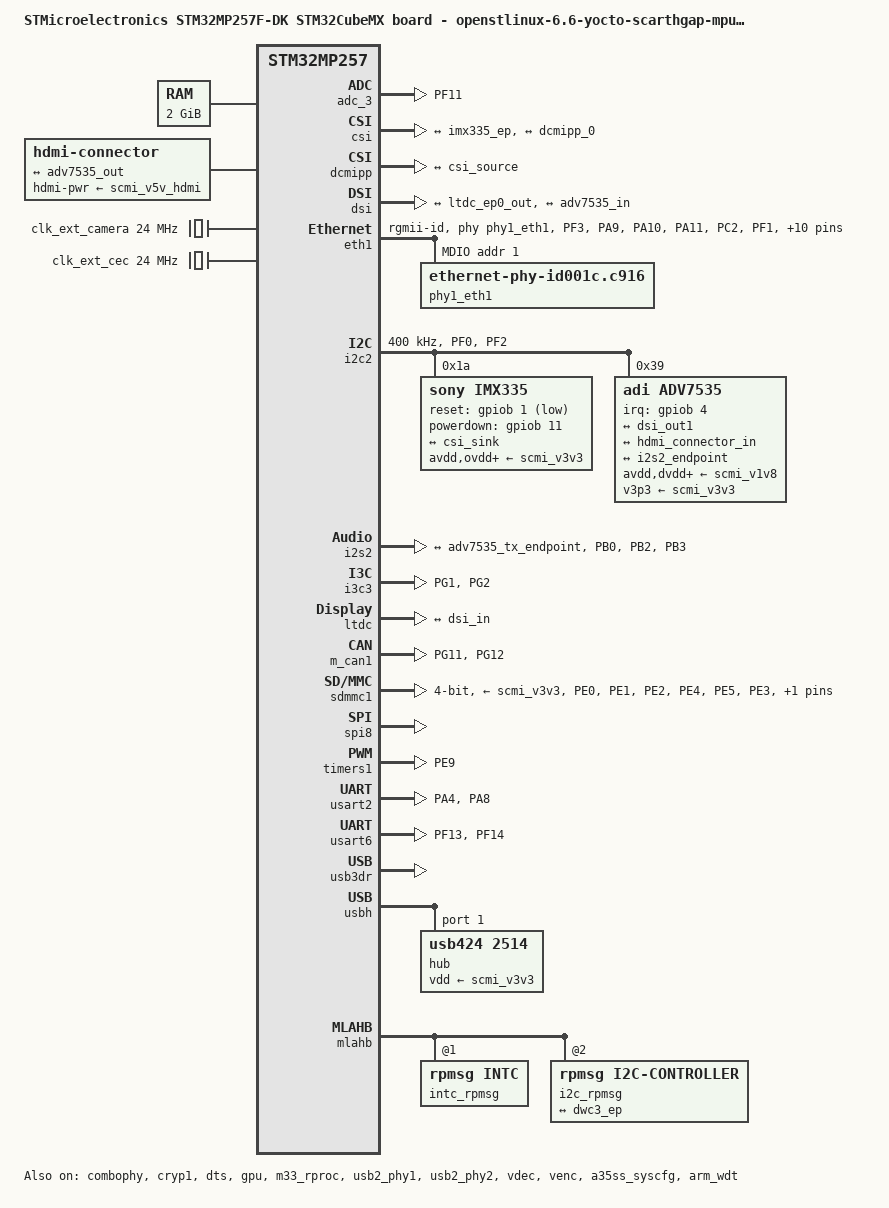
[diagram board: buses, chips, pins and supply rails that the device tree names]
// SPDX-License-Identifier: (GPL-2.0-only OR BSD-3-Clause)
/*
 * Copyright (C) 2026, STMicroelectronics - All Rights Reserved
 * Author: STM32CubeMX code generation for STMicroelectronics.
 */

/* For more information on Device Tree configuration, please refer to
 * https://wiki.st.com/stm32mpu/wiki/Category:Device_tree_configuration
 */

/dts-v1/;

#include <dt-bindings/pinctrl/stm32-pinfunc.h>
#include "stm32mp257.dtsi"
#include "stm32mp25xf.dtsi"
#include "stm32mp257f-watermelon-wine-1b-mx-resmem.dtsi"
#include "stm32mp25xxak-pinctrl.dtsi"

/* USER CODE BEGIN includes */
#include <dt-bindings/gpio/gpio.h>
#include <dt-bindings/input/input.h>
#include <dt-bindings/leds/common.h>
#include <dt-bindings/rtc/rtc-stm32.h>
#include "stm32mp25-pinctrl.dtsi"
/* USER CODE END includes */

/ {
	model = "STMicroelectronics STM32MP257F-DK STM32CubeMX board - openstlinux-6.6-yocto-scarthgap-mpu-v26.02.18";
	compatible = "st,stm32mp257f-watermelon-wine-1b-mx", "st,stm32mp257f-dk", "st,stm32mp257";

	memory@80000000 {
		device_type = "memory";
		reg = <0x0 0x80000000 0x0 0x80000000>;

		/* USER CODE BEGIN memory */
		/* USER CODE END memory */
	};

	/* USER CODE BEGIN root */

	aliases{
		serial0 = &usart6;
	};

	chosen{
		stdout-path = "serial0:115200n8";
		#address-cells = <2>;
		#size-cells = <2>;
		ranges;
	};

	hdmi:connector{
		compatible = "hdmi-connector";
		label = "hdmi";
		type = "d";
		hdmi-pwr-supply = <&scmi_v5v_hdmi>;

		port{

			hdmi_connector_in:endpoint{
				remote-endpoint = <&adv7535_out>;
			};
		};
	};

	sound {
		compatible = "audio-graph-card";
		label = "STM32MP25-DK";
		dais = <&i2s2_port>;
		status = "okay";
	};

	/* USER CODE END root */

	clocks{

		/* USER CODE BEGIN clocks */

		clk_ext_camera:clk-ext-camera{
			#clock-cells = <0>;
			compatible = "fixed-clock";
			clock-frequency = <24000000>;
		};

		clk_ext_cec:clk-ext-cec{
			#clock-cells = <0>;
			compatible = "fixed-clock";
			clock-frequency = <24000000>;
		};
		/* USER CODE END clocks */
	};

}; /*root*/

&pinctrl {

	adc3_pins_mx: adc3_mx-0 {
		pins {
			pinmux = <STM32_PINMUX('F', 11, ANALOG)>; /* ADC3_INP6 */
		};
	};

	adc3_sleep_pins_mx: adc3_sleep_mx-0 {
		pins {
			pinmux = <STM32_PINMUX('F', 11, ANALOG)>; /* ADC3_INP6 */
		};
	};

	eth1_clk_pins_mx: eth1_clk_mx-0 {
		pins {
			pinmux = <STM32_PINMUX('F', 3, AF9)>; /* ETH1_CLK */
			bias-disable;
			drive-push-pull;
			slew-rate = <1>;
		};
	};

	eth1_clk_sleep_pins_mx: eth1_clk_sleep_mx-0 {
		pins {
			pinmux = <STM32_PINMUX('F', 3, ANALOG)>; /* ETH1_CLK */
		};
	};

	eth1_mdio_pins_mx: eth1_mdio_mx-0 {
		pins {
			pinmux = <STM32_PINMUX('A', 9, AF10)>, /* ETH1_MDC */
					 <STM32_PINMUX('A', 10, AF10)>; /* ETH1_MDIO */
			bias-disable;
			drive-push-pull;
			slew-rate = <1>;
			st,io-clk-edge = <0>;
			st,io-retime = <0>;
			st,io-delay-path = <0>;
			st,io-delay = <0>;
		};
	};

	eth1_mdio_sleep_pins_mx: eth1_mdio_sleep_mx-0 {
		pins {
			pinmux = <STM32_PINMUX('A', 9, ANALOG)>, /* ETH1_MDC */
					 <STM32_PINMUX('A', 10, ANALOG)>; /* ETH1_MDIO */
		};
	};

	eth1_rgmii_pins_mx: eth1_rgmii_mx-0 {
		pins1 {
			pinmux = <STM32_PINMUX('A', 11, AF10)>, /* ETH1_RGMII_RX_CTL */
					 <STM32_PINMUX('C', 2, AF10)>, /* ETH1_RGMII_RXD1 */
					 <STM32_PINMUX('F', 1, AF10)>, /* ETH1_RGMII_RXD0 */
					 <STM32_PINMUX('H', 12, AF10)>, /* ETH1_RGMII_RXD2 */
					 <STM32_PINMUX('H', 13, AF10)>; /* ETH1_RGMII_RXD3 */
			bias-disable;
			drive-push-pull;
			st,io-clk-edge = <1>;
			st,io-retime = <1>;
			st,io-delay-path = <0>;
			st,io-delay = <0>;
		};
		pins2 {
			pinmux = <STM32_PINMUX('A', 13, AF10)>, /* ETH1_RGMII_TX_CTL */
					 <STM32_PINMUX('A', 15, AF10)>, /* ETH1_RGMII_TXD0 */
					 <STM32_PINMUX('C', 1, AF10)>, /* ETH1_RGMII_TXD1 */
					 <STM32_PINMUX('H', 10, AF10)>, /* ETH1_RGMII_TXD2 */
					 <STM32_PINMUX('H', 11, AF10)>; /* ETH1_RGMII_TXD3 */
			bias-disable;
			drive-push-pull;
			slew-rate = <3>;
			st,io-clk-edge = <1>;
			st,io-retime = <1>;
			st,io-delay-path = <0>;
			st,io-delay = <0>;
		};
		pins3 {
			pinmux = <STM32_PINMUX('A', 14, AF10)>; /* ETH1_RGMII_RX_CLK */
			bias-disable;
			drive-push-pull;
			st,io-clk-edge = <0>;
			st,io-retime = <0>;
			st,io-delay-path = <1>;
			st,io-delay = <0>;
		};
		pins4 {
			pinmux = <STM32_PINMUX('C', 0, AF12)>; /* ETH1_RGMII_GTX_CLK */
			bias-disable;
			drive-push-pull;
			st,io-clk-edge = <0>;
			st,io-retime = <0>;
			st,io-delay-path = <0>;
			st,io-delay = <0>;
		};
		pins5 {
			pinmux = <STM32_PINMUX('H', 9, AF10)>; /* ETH1_RGMII_CLK125 */
			bias-disable;
			drive-push-pull;
			slew-rate = <3>;
		};
	};

	eth1_rgmii_sleep_pins_mx: eth1_rgmii_sleep_mx-0 {
		pins {
			pinmux = <STM32_PINMUX('A', 11, ANALOG)>, /* ETH1_RGMII_RX_CTL */
					 <STM32_PINMUX('A', 13, ANALOG)>, /* ETH1_RGMII_TX_CTL */
					 <STM32_PINMUX('A', 14, ANALOG)>, /* ETH1_RGMII_RX_CLK */
					 <STM32_PINMUX('A', 15, ANALOG)>, /* ETH1_RGMII_TXD0 */
					 <STM32_PINMUX('C', 0, ANALOG)>, /* ETH1_RGMII_GTX_CLK */
					 <STM32_PINMUX('C', 1, ANALOG)>, /* ETH1_RGMII_TXD1 */
					 <STM32_PINMUX('C', 2, ANALOG)>, /* ETH1_RGMII_RXD1 */
					 <STM32_PINMUX('F', 1, ANALOG)>, /* ETH1_RGMII_RXD0 */
					 <STM32_PINMUX('H', 9, ANALOG)>, /* ETH1_RGMII_CLK125 */
					 <STM32_PINMUX('H', 10, ANALOG)>, /* ETH1_RGMII_TXD2 */
					 <STM32_PINMUX('H', 11, ANALOG)>, /* ETH1_RGMII_TXD3 */
					 <STM32_PINMUX('H', 12, ANALOG)>, /* ETH1_RGMII_RXD2 */
					 <STM32_PINMUX('H', 13, ANALOG)>; /* ETH1_RGMII_RXD3 */
		};
	};

	fdcan1_pins_mx: fdcan1_mx-0 {
		pins1 {
			pinmux = <STM32_PINMUX('G', 11, AF7)>; /* FDCAN1_TX */
			bias-disable;
			drive-push-pull;
			slew-rate = <0>;
		};
		pins2 {
			pinmux = <STM32_PINMUX('G', 12, AF7)>; /* FDCAN1_RX */
			bias-disable;
			drive-push-pull;
		};
	};

	fdcan1_sleep_pins_mx: fdcan1_sleep_mx-0 {
		pins {
			pinmux = <STM32_PINMUX('G', 11, ANALOG)>, /* FDCAN1_TX */
					 <STM32_PINMUX('G', 12, ANALOG)>; /* FDCAN1_RX */
		};
	};

	i2c2_pins_mx: i2c2_mx-0 {
		pins {
			pinmux = <STM32_PINMUX('F', 0, AF9)>, /* I2C2_SDA */
					 <STM32_PINMUX('F', 2, AF9)>; /* I2C2_SCL */
			bias-disable;
			drive-open-drain;
			slew-rate = <0>;
		};
	};

	i2c2_sleep_pins_mx: i2c2_sleep_mx-0 {
		pins {
			pinmux = <STM32_PINMUX('F', 0, ANALOG)>, /* I2C2_SDA */
					 <STM32_PINMUX('F', 2, ANALOG)>; /* I2C2_SCL */
		};
	};

	i2s2_pins_mx: i2s2_mx-0 {
		pins {
			pinmux = <STM32_PINMUX('B', 0, AF2)>, /* I2S2_CK */
					 <STM32_PINMUX('B', 2, AF2)>, /* I2S2_SDO */
					 <STM32_PINMUX('B', 3, AF2)>; /* I2S2_WS */
			bias-disable;
			drive-push-pull;
			slew-rate = <0>;
		};
	};

	i2s2_sleep_pins_mx: i2s2_sleep_mx-0 {
		pins {
			pinmux = <STM32_PINMUX('B', 0, ANALOG)>, /* I2S2_CK */
					 <STM32_PINMUX('B', 2, ANALOG)>, /* I2S2_SDO */
					 <STM32_PINMUX('B', 3, ANALOG)>; /* I2S2_WS */
		};
	};

	i3c3_pins_mx: i3c3_mx-0 {
		pins {
			pinmux = <STM32_PINMUX('G', 1, AF3)>, /* I3C3_SCL */
					 <STM32_PINMUX('G', 2, AF3)>; /* I3C3_SDA */
			bias-pull-up;
			drive-push-pull;
			slew-rate = <3>;
		};
	};

	i3c3_sleep_pins_mx: i3c3_sleep_mx-0 {
		pins {
			pinmux = <STM32_PINMUX('G', 1, ANALOG)>, /* I3C3_SCL */
					 <STM32_PINMUX('G', 2, ANALOG)>; /* I3C3_SDA */
		};
	};

	sdmmc1_pins_mx: sdmmc1_mx-0 {
		pins1 {
			pinmux = <STM32_PINMUX('E', 0, AF10)>, /* SDMMC1_D2 */
					 <STM32_PINMUX('E', 1, AF10)>, /* SDMMC1_D3 */
					 <STM32_PINMUX('E', 2, AF10)>, /* SDMMC1_CMD */
					 <STM32_PINMUX('E', 4, AF10)>, /* SDMMC1_D0 */
					 <STM32_PINMUX('E', 5, AF10)>; /* SDMMC1_D1 */
			bias-disable;
			drive-push-pull;
			slew-rate = <1>;
		};
		pins2 {
			pinmux = <STM32_PINMUX('E', 3, AF10)>; /* SDMMC1_CK */
			bias-disable;
			drive-push-pull;
			slew-rate = <2>;
		};
	};

	sdmmc1_opendrain_pins_mx: sdmmc1_opendrain_mx-0 {
		pins1 {
			pinmux = <STM32_PINMUX('E', 0, AF10)>, /* SDMMC1_D2 */
					 <STM32_PINMUX('E', 1, AF10)>, /* SDMMC1_D3 */
					 <STM32_PINMUX('E', 4, AF10)>, /* SDMMC1_D0 */
					 <STM32_PINMUX('E', 5, AF10)>; /* SDMMC1_D1 */
			bias-disable;
			drive-push-pull;
			slew-rate = <1>;
		};
		pins2 {
			pinmux = <STM32_PINMUX('E', 2, AF10)>; /* SDMMC1_CMD */
			bias-disable;
			drive-open-drain;
			slew-rate = <1>;
		};
		pins3 {
			pinmux = <STM32_PINMUX('E', 3, AF10)>; /* SDMMC1_CK */
			bias-disable;
			drive-push-pull;
			slew-rate = <2>;
		};
	};

	sdmmc1_sleep_pins_mx: sdmmc1_sleep_mx-0 {
		pins {
			pinmux = <STM32_PINMUX('E', 0, ANALOG)>, /* SDMMC1_D2 */
					 <STM32_PINMUX('E', 1, ANALOG)>, /* SDMMC1_D3 */
					 <STM32_PINMUX('E', 2, ANALOG)>, /* SDMMC1_CMD */
					 <STM32_PINMUX('E', 3, ANALOG)>, /* SDMMC1_CK */
					 <STM32_PINMUX('E', 4, ANALOG)>, /* SDMMC1_D0 */
					 <STM32_PINMUX('E', 5, ANALOG)>; /* SDMMC1_D1 */
		};
	};

	tim1_pwm_pins_mx: tim1_pwm_mx-0 {
		pins {
			pinmux = <STM32_PINMUX('E', 9, AF8)>; /* TIM1_CH4 */
			bias-disable;
			drive-push-pull;
			slew-rate = <0>;
		};
	};

	tim1_pwm_sleep_pins_mx: tim1_pwm_sleep_mx-0 {
		pins {
			pinmux = <STM32_PINMUX('E', 9, ANALOG)>; /* TIM1_CH4 */
		};
	};

	usart2_pins_mx: usart2_mx-0 {
		pins1 {
			pinmux = <STM32_PINMUX('A', 4, AF6)>; /* USART2_TX */
			bias-disable;
			drive-push-pull;
			slew-rate = <0>;
		};
		pins2 {
			pinmux = <STM32_PINMUX('A', 8, AF8)>; /* USART2_RX */
			bias-disable;
			drive-push-pull;
		};
	};

	usart2_idle_pins_mx: usart2_idle_mx-0 {
		pins1 {
			pinmux = <STM32_PINMUX('A', 4, ANALOG)>; /* USART2_TX */
		};
		pins2 {
			pinmux = <STM32_PINMUX('A', 8, AF8)>; /* USART2_RX */
			bias-disable;
			drive-push-pull;
		};
	};

	usart2_sleep_pins_mx: usart2_sleep_mx-0 {
		pins {
			pinmux = <STM32_PINMUX('A', 4, ANALOG)>, /* USART2_TX */
					 <STM32_PINMUX('A', 8, ANALOG)>; /* USART2_RX */
		};
	};

	usart6_pins_mx: usart6_mx-0 {
		pins1 {
			pinmux = <STM32_PINMUX('F', 13, AF3)>; /* USART6_TX */
			bias-disable;
			drive-push-pull;
			slew-rate = <0>;
		};
		pins2 {
			pinmux = <STM32_PINMUX('F', 14, AF3)>; /* USART6_RX */
			bias-disable;
			drive-push-pull;
		};
	};

	usart6_idle_pins_mx: usart6_idle_mx-0 {
		pins1 {
			pinmux = <STM32_PINMUX('F', 13, ANALOG)>; /* USART6_TX */
		};
		pins2 {
			pinmux = <STM32_PINMUX('F', 14, AF3)>; /* USART6_RX */
			bias-disable;
			drive-push-pull;
		};
	};

	usart6_sleep_pins_mx: usart6_sleep_mx-0 {
		pins {
			pinmux = <STM32_PINMUX('F', 13, ANALOG)>, /* USART6_TX */
					 <STM32_PINMUX('F', 14, ANALOG)>; /* USART6_RX */
		};
	};

	/* USER CODE BEGIN pinctrl */
	/* USER CODE END pinctrl */
};

&pinctrl_z {

	spi8_pins_z_mx: spi8_mx-0 {
		pins {
			pinmux = <STM32_PINMUX('Z', 2, AF3)>, /* SPI8_SCK */
					 <STM32_PINMUX('Z', 7, AF3)>, /* SPI8_MOSI */
					 <STM32_PINMUX('Z', 8, AF3)>; /* SPI8_MISO */
			bias-disable;
			drive-push-pull;
			slew-rate = <0>;
		};
	};

	spi8_sleep_pins_z_mx: spi8_sleep_mx-0 {
		pins {
			pinmux = <STM32_PINMUX('Z', 2, ANALOG)>, /* SPI8_SCK */
					 <STM32_PINMUX('Z', 7, ANALOG)>, /* SPI8_MOSI */
					 <STM32_PINMUX('Z', 8, ANALOG)>; /* SPI8_MISO */
		};
	};

	/* USER CODE BEGIN pinctrl_z */
	/* USER CODE END pinctrl_z */
};

&adc_3 {
	pinctrl-names = "default", "sleep";
	pinctrl-0 = <&adc3_pins_mx>;
	pinctrl-1 = <&adc3_sleep_pins_mx>;
	status = "okay";

	/* USER CODE BEGIN adc_3 */
	/* USER CODE END adc_3 */
};

&combophy {
	status = "okay";

	/* USER CODE BEGIN combophy */
	st,ssc-on;
	/* USER CODE END combophy */
};

&cryp1 {
	status = "okay";

	/* USER CODE BEGIN cryp1 */
	/* USER CODE END cryp1 */
};

&csi {
	status = "okay";

	/* USER CODE BEGIN csi */
	vdd-supply = <&scmi_vddcore>;
	vdda18-supply = <&scmi_v1v8>;

	ports{
		#address-cells = <1>;
		#size-cells = <0>;

		port@0{
			reg = <0>;

			csi_sink:endpoint{
				remote-endpoint = <&imx335_ep>;
				data-lanes = <1 2>;
				bus-type = <4>;
			};
		};

		port@1{
			reg = <1>;

			csi_source:endpoint{
				remote-endpoint = <&dcmipp_0>;
			};
		};
	};
	/* USER CODE END csi */
};

&dcmipp {
	status = "okay";

	/* USER CODE BEGIN dcmipp */

	port{

		dcmipp_0:endpoint{
			remote-endpoint = <&csi_source>;
			bus-type = <4>;
		};
	};
	/* USER CODE END dcmipp */
};

&dsi {
	status = "okay";

	/* USER CODE BEGIN dsi */
	vdd-supply = <&scmi_vddcore>;
	vdda18-supply = <&scmi_v1v8>;

	ports{
		#address-cells = <1>;
		#size-cells = <0>;

		port@0{
			reg = <0>;

			dsi_in:endpoint{
				remote-endpoint = <&ltdc_ep0_out>;
			};
		};

		port@1{
			reg = <1>;

			dsi_out1:endpoint{
				remote-endpoint = <&adv7535_in>;
			};
		};
	};
	/* USER CODE END dsi */
};

&dts {
	status = "okay";

	/* USER CODE BEGIN dts */
	/* USER CODE END dts */
};

&eth1 {
	pinctrl-names = "default", "sleep";
	pinctrl-0 = <&eth1_clk_pins_mx>, <&eth1_mdio_pins_mx>, <&eth1_rgmii_pins_mx>;
	pinctrl-1 = <&eth1_clk_sleep_pins_mx>, <&eth1_mdio_sleep_pins_mx>, <&eth1_rgmii_sleep_pins_mx>;
	status = "okay";

	/* USER CODE BEGIN eth1 */
	phy-mode = "rgmii-id";
	max-speed = <1000>;
	phy-handle = <&phy1_eth1>;
	st,eth-ptp-from-rcc;

	mdio1{
		#address-cells = <1>;
		#size-cells = <0>;
		compatible = "snps,dwmac-mdio";

		phy1_eth1:ethernet-phy@1{
			compatible = "ethernet-phy-id001c.c916";
			/* No Reset pins */
			realtek,eee-disable;
			reg = <1>;
		};
	};
	/* USER CODE END eth1 */
};

&gpu {
	status = "okay";

	/* USER CODE BEGIN gpu */
	contiguous-area = <&gpu_reserved>;
	/* USER CODE END gpu */
};

&hpdma {
	status = "okay";

	/* USER CODE BEGIN hpdma */
	memory-region = <&hpdma1_lli>;
	/* USER CODE END hpdma */
};

&hpdma2 {
	status = "okay";

	/* USER CODE BEGIN hpdma2 */
	memory-region = <&hpdma2_lli>;
	/* USER CODE END hpdma2 */
};

&hpdma3 {
	status = "okay";

	/* USER CODE BEGIN hpdma3 */
	memory-region = <&hpdma3_lli>;
	/* USER CODE END hpdma3 */
};

&i2c2 {
	pinctrl-names = "default", "sleep";
	pinctrl-0 = <&i2c2_pins_mx>;
	pinctrl-1 = <&i2c2_sleep_pins_mx>;
	status = "okay";

	/* USER CODE BEGIN i2c2 */
	i2c-scl-rising-time-ns = <108>;
	i2c-scl-falling-time-ns = <12>;
	clock-frequency = <400000>;
	/delete-property/ dmas;
	/delete-property/ dma-names;

	imx335:camera@1a{
		compatible = "sony,imx335";
		reg = <0x1a>;
		clocks = <&clk_ext_camera>;
		avdd-supply = <&scmi_v3v3>;
		ovdd-supply = <&scmi_v3v3>;
		dvdd-supply = <&scmi_v3v3>;
		reset-gpios = <&gpiob 1 (GPIO_ACTIVE_LOW | GPIO_PUSH_PULL)>;
		powerdown-gpios = <&gpiob 11 (GPIO_ACTIVE_HIGH | GPIO_PUSH_PULL)>;
		status = "okay";

		port{

			imx335_ep:endpoint{
				remote-endpoint = <&csi_sink>;
				clock-lanes = <0>;
				data-lanes = <1 2>;
				link-frequencies = /bits/ 64 <594000000>;
			};
		};
	};

	adv7535:hdmi@39{
		compatible = "adi,adv7535";
		reg = <0x39>, <0x3c>, <0x3f>, <0x38>;
		reg-names = "main", "cec", "edid", "packet";
		status = "okay";
		adi,dsi-lanes = <4>;
		clocks = <&clk_ext_cec>;
		clock-names = "cec";
		interrupt-parent = <&gpiob>;
		interrupts = <4 IRQ_TYPE_EDGE_FALLING>;
		/*reset-gpios = <&gpiob 6 GPIO_ACTIVE_LOW>; EJ IMPLEMENTERAT */
		avdd-supply = <&scmi_v1v8>;
		dvdd-supply = <&scmi_v1v8>;
		pvdd-supply = <&scmi_v1v8>;
		a2vdd-supply = <&scmi_v1v8>;
		v3p3-supply = <&scmi_v3v3>;
		v1p2-supply = <&scmi_v1v8>;

		ports{
			#address-cells = <1>;
			#size-cells = <0>;

			port@0{
				reg = <0>;

				adv7535_in:endpoint{
					remote-endpoint = <&dsi_out1>;
				};
			};

			port@1{
				reg = <1>;

				adv7535_out:endpoint{
					remote-endpoint = <&hdmi_connector_in>;
				};
			};

			port@2{
				reg = <2>;

				adv7535_tx_endpoint:endpoint{
					remote-endpoint = <&i2s2_endpoint>;
				};
			};
		};
	};

    /* Vad är detta?
	ili2511:ili2511@41{
		compatible = "ilitek,ili251x";
		reg = <0x41>;
		interrupt-parent = <&gpioi>;
		interrupts = <6 IRQ_TYPE_EDGE_FALLING>;
		reset-gpios = <&gpioi 0 GPIO_ACTIVE_LOW>;
		status = "okay";
	};*/
	/* USER CODE END i2c2 */
};

&i2s2 {
	pinctrl-names = "default", "sleep";
	pinctrl-0 = <&i2s2_pins_mx>;
	pinctrl-1 = <&i2s2_sleep_pins_mx>;
	status = "okay";

	/*
	 * Keep CK_KER_SPI2 at 6.144 MHz: the ST stm32_i2s driver otherwise has
	 * to reprogram the secure SCMI flexgen (ck_flexgen_10), which lands on
	 * 54857 Hz. 54857 * 112 = 6143984 is within 2 ppm of 6.144 MHz, so the
	 * driver accuracy check accepts it and skips clk_set_rate(); the I2S
	 * prescaler then clamps to divider 1 and WS ends up at ~1714 Hz (audio
	 * ~26x too slow, and video collapses with it because GStreamer slaves
	 * video to the audio clock).
	 */
	assigned-clocks = <&rcc CK_KER_SPI2>;
	assigned-clock-rates = <6144000>;

	/* USER CODE BEGIN i2s2 */

	i2s2_port:port{

		i2s2_endpoint:endpoint{
			remote-endpoint = <&adv7535_tx_endpoint>;
			format = "i2s";
			/*mclk-fs = <256>; Vi använder inte Master Clock */
		};
	};
	/* USER CODE END i2s2 */
};

&i3c3 {
	pinctrl-names = "default", "sleep";
	pinctrl-0 = <&i3c3_pins_mx>;
	pinctrl-1 = <&i3c3_sleep_pins_mx>;
	status = "okay";

	/* USER CODE BEGIN i3c3 */
	/* USER CODE END i3c3 */
};

&ltdc {
	status = "okay";

	/* USER CODE BEGIN ltdc */
	port{
		#address-cells = <1>;
		#size-cells = <0>;

		ltdc_ep0_out:endpoint@0{
			reg = <0>;
			remote-endpoint = <&dsi_in>;
		};
	};
	/* USER CODE END ltdc */
};

&m_can1 {
	pinctrl-names = "default", "sleep";
	pinctrl-0 = <&fdcan1_pins_mx>;
	pinctrl-1 = <&fdcan1_sleep_pins_mx>;
	status = "okay";

	/* USER CODE BEGIN m_can1 */
	/* USER CODE END m_can1 */
};

&m33_rproc {
	status = "okay";

	/* USER CODE BEGIN m33_rproc */
	compatible = "st,stm32mp2-m33-tee";
	memory-region = <&ipc_shmem_1>, <&vdev0vring0>,
			<&vdev0vring1>, <&vdev0buffer>,
			<&cm33_sram2>;
	/* USER CODE END m33_rproc */
};

&sdmmc1 {
	pinctrl-names = "default", "opendrain", "sleep";
	pinctrl-0 = <&sdmmc1_pins_mx>;
	pinctrl-1 = <&sdmmc1_opendrain_pins_mx>;
	pinctrl-2 = <&sdmmc1_sleep_pins_mx>;
	status = "okay";

	/* USER CODE BEGIN sdmmc1 */
	cd-gpios = <&gpiod 3 (GPIO_ACTIVE_LOW | GPIO_PULL_UP)>;
	disable-wp;
	st,neg-edge;
	bus-width = <4>;
	vmmc-supply = <&scmi_v3v3>;
	vqmmc-supply = <&scmi_vddio1>;
	// EMI-filtret har för hög dämpning på frekvenser över 50MHz
	max-frequency = <50000000>;
	sd-uhs-sdr12;
	sd-uhs-sdr25;
	sd-uhs-sdr50;
	sd-uhs-ddr50;
	/* USER CODE END sdmmc1 */
};

&spi8 {
	pinctrl-names = "default", "sleep";
	pinctrl-0 = <&spi8_pins_z_mx>;
	pinctrl-1 = <&spi8_sleep_pins_z_mx>;
	status = "okay";

	/* USER CODE BEGIN spi8 */
	/* USER CODE END spi8 */
};

&timers1 {
	pinctrl-names = "default", "sleep";
	pinctrl-0 = <&tim1_pwm_pins_mx>;
	pinctrl-1 = <&tim1_pwm_sleep_pins_mx>;
	status = "okay";

	/* USER CODE BEGIN timers1 */
	/delete-property/dmas;
    /delete-property/dma-names;
    pwm4: pwm {
		status = "okay";
	};
	/* USER CODE END timers1 */
};

&usart2 {
	pinctrl-names = "default", "idle", "sleep";
	pinctrl-0 = <&usart2_pins_mx>;
	pinctrl-1 = <&usart2_idle_pins_mx>;
	pinctrl-2 = <&usart2_sleep_pins_mx>;
	status = "okay";

	/* USER CODE BEGIN usart2 */
	/delete-property/ dmas;
	/delete-property/ dma-names;
	/* USER CODE END usart2 */
};

&usart6 {
	pinctrl-names = "default", "idle", "sleep";
	pinctrl-0 = <&usart6_pins_mx>;
	pinctrl-1 = <&usart6_idle_pins_mx>;
	pinctrl-2 = <&usart6_sleep_pins_mx>;
	status = "okay";

	/* USER CODE BEGIN usart6 */
	/delete-property/ dmas;
	/delete-property/ dma-names;
	/* USER CODE END usart6 */
};

&usb2_phy1 {
	status = "okay";

	/* USER CODE BEGIN usb2_phy1 */
	vdd33-supply = <&scmi_vdd3v3_usb>;
	/* USER CODE END usb2_phy1 */
};

&usb2_phy2 {
	status = "okay";

	/* USER CODE BEGIN usb2_phy2 */
	vdd33-supply = <&scmi_vdd3v3_usb>;
	/* USER CODE END usb2_phy2 */
};

&usb3dr {
	status = "okay";

	/* USER CODE BEGIN usb3dr */
	dwc3:usb@48300000{
		maximum-speed = "high-speed";
		usb-role-switch;

		port{

			dwc3_ep:endpoint{
				remote-endpoint = <&typec_ep>;
			};
		};
	};
	/* USER CODE END usb3dr */
};

&usbh {
	status = "okay";

	/* USER CODE BEGIN usbh */
	usbh_ehci:usb@482f0000{
		#address-cells = <1>;
		#size-cells = <0>;

		hub@1{
			compatible = "usb424,2514";
			reg = <1>;
			vdd-supply = <&scmi_v3v3>;
		};
	};
    
	usbh_ohci: usb@482e0000 {
		status = "disabled";
	};
	/* USER CODE END usbh */
};

&vdec {
	status = "okay";

	/* USER CODE BEGIN vdec */
	/* USER CODE END vdec */
};

&venc {
	status = "okay";

	/* USER CODE BEGIN venc */
	/* USER CODE END venc */
};

/* USER CODE BEGIN addons */

&a35ss_syscfg {
	status = "okay";
};

&ahbsr {
	mbox_client: mailbox-client@1 {
		compatible = "mbox-cdev";
		reg = <1 0>;
		memory-region =  <&ipc_shmem_2>;
		mboxes = <&ipcc2 0x200>;
		mbox-names = "rx-tx";
		status = "okay";
	};
};

&arm_wdt {
	timeout-sec = <32>;
	status = "okay";
};

&ipcc2 {
	status = "okay";
};

&mlahb {

	intc_rpmsg:interrupt-controller@1{
		compatible = "rpmsg,intc";
		reg = <1 0>;
		#interrupt-cells = <1>;
		interrupt-controller;
	};

	i2c_rpmsg:i2c@2{
		compatible = "rpmsg,i2c-controller";
		reg = <2 0>;
		rpmsg,dev-id = "rpmsg_i2c";
		#address-cells = <1>;
		#size-cells = <0>;
		status = "okay";

		typec@35{
			compatible = "st,stm32mp25-typec";
			reg = <0x35>;
			interrupts-extended = <&intc_rpmsg 0>;
			status = "okay";

			connector{
				compatible = "usb-c-connector";
				label = "USB-C";

				port{

					typec_ep:endpoint{
						remote-endpoint = <&dwc3_ep>;
					};
				};
			};
		};
	};
};

&m0_rproc {
	memory-region = <&cm0_cube_fw>, <&cm0_cube_data>;
	clocks = <&rcc CK_CPU3>,
		 <&rcc CK_CPU3_AM>,
		 <&rcc CK_LPUART1_C3>,
		 <&rcc CK_KER_LPUART1>,
		 <&rcc CK_LPUART1_AM>,
		 <&rcc CK_GPIOZ_C3>,
		 <&scmi_clk CK_SCMI_GPIOZ>,
		 <&scmi_clk CK_SCMI_GPIOZ_AM>,
		 <&rcc CK_LPTIM4_C3>,
		 <&rcc CK_KER_LPTIM4>,
		 <&rcc CK_LPTIM4_AM>,
		 <&scmi_clk CK_SCMI_IPCC2>,
		 <&scmi_clk CK_SCMI_IPCC2_AM>;
	status = "disabled";
};

&scmi_regu {
	scmi_vddio1: regulator@0 {
		regulator-min-microvolt = <1800000>;
		regulator-max-microvolt = <3300000>;
	};
	scmi_vddcore: regulator@b {
		reg = <VOLTD_SCMI_STPMIC2_BUCK2>;
		regulator-name = "vddcore";
	};
	scmi_v1v8: regulator@e {
		reg = <VOLTD_SCMI_STPMIC2_BUCK5>;
		regulator-name = "v1v8";
	};
	scmi_v3v3: regulator@10 {
		reg = <VOLTD_SCMI_STPMIC2_BUCK7>;
		regulator-name = "v3v3";
	};
	scmi_vdd_emmc: regulator@12 {
		reg = <VOLTD_SCMI_STPMIC2_LDO2>;
		regulator-name = "vdd_emmc";
	};
	scmi_vdd3v3_usb: regulator@14 {
		reg = <VOLTD_SCMI_STPMIC2_LDO4>;
		regulator-name = "vdd3v3_usb";
	};
	scmi_v5v_hdmi: regulator@15 {
		reg = <VOLTD_SCMI_STPMIC2_LDO5>;
		regulator-name = "v5v_hdmi";
	};
	scmi_v5v_vconn: regulator@16 {
		reg = <VOLTD_SCMI_STPMIC2_LDO6>;
		regulator-name = "v5v_vconn";
	};
	scmi_vdd_sdcard: regulator@17 {
		reg = <VOLTD_SCMI_STPMIC2_LDO7>;
		regulator-name = "vdd_sdcard";
	};
};
/* USER CODE END addons */

